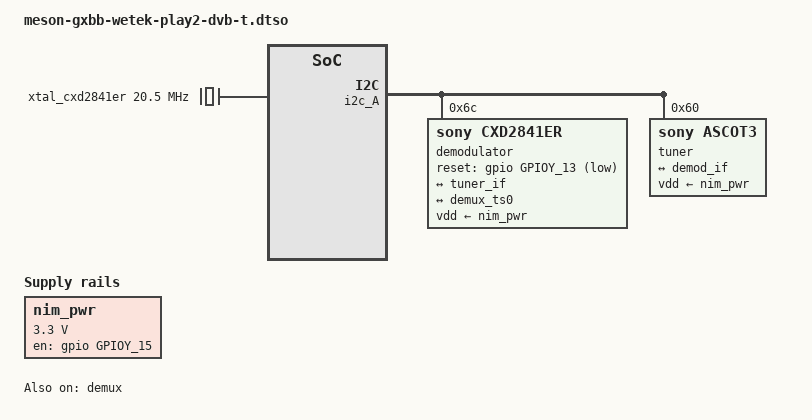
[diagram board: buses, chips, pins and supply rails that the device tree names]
// SPDX-License-Identifier: (GPL-2.0+ OR MIT)
/*
 * WeTek Play 2 DVB-T/T2/C card: Sony CXD2841ER demodulator with a Sony
 * Ascot3 tuner behind its I2C gate
 */

/dts-v1/;
/plugin/;

#include <dt-bindings/gpio/gpio.h>
#include <dt-bindings/gpio/meson-gxbb-gpio.h>

&{/} {
	xtal_cxd2841er: clock-20500000 {
		compatible = "fixed-clock";
		#clock-cells = <0>;
		clock-frequency = <20500000>;
	};

	/* power of the card, also needed for its reset line */
	nim_pwr: regulator-nim {
		compatible = "regulator-fixed";
		regulator-name = "NIM_PWR";
		regulator-min-microvolt = <3300000>;
		regulator-max-microvolt = <3300000>;
		gpio = <&gpio GPIOY_15 GPIO_ACTIVE_HIGH>;
		enable-active-high;
		regulator-always-on;
	};
};

/* TS0 (tsin_a), parallel */
&demux {
	pinctrl-0 = <&tsin_a_parallel_pins>;
	pinctrl-names = "default";
	status = "okay";

	ports {
		#address-cells = <1>;
		#size-cells = <0>;

		port@0 {
			reg = <0>;

			demux_ts0: endpoint {
				remote-endpoint = <&demod_ts>;
				bus-width = <8>;
			};
		};
	};
};

&i2c_A {
	#address-cells = <1>;
	#size-cells = <0>;

	demodulator@6c {
		compatible = "sony,cxd2841er";
		reg = <0x6c>;
		clocks = <&xtal_cxd2841er>;
		reset-gpios = <&gpio GPIOY_13 GPIO_ACTIVE_LOW>;
		/* orders the probe after the card power */
		vdd-supply = <&nim_pwr>;
		sony,ascot;

		ports {
			#address-cells = <1>;
			#size-cells = <0>;

			port@0 {
				reg = <0>;

				demod_if: endpoint {
					remote-endpoint = <&tuner_if>;
				};
			};

			port@1 {
				reg = <1>;

				demod_ts: endpoint {
					remote-endpoint = <&demux_ts0>;
					bus-width = <8>;
				};
			};
		};
	};

	tuner@60 {
		compatible = "sony,ascot3";
		reg = <0x60>;
		vdd-supply = <&nim_pwr>;

		ports {
			#address-cells = <1>;
			#size-cells = <0>;

			port@1 {
				reg = <1>;

				tuner_if: endpoint {
					remote-endpoint = <&demod_if>;
				};
			};
		};
	};
};
